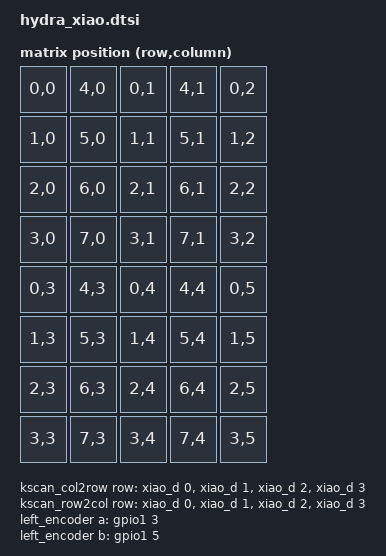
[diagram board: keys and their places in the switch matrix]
/* Shared DTSI for XIAO BLE Plus adapter variants.
 * Uses &xiao_d nexus and raw GPIO refs instead of &pro_micro.
 * Do NOT include hydra.dtsi alongside this file.
 */
#include <dt-bindings/zmk/matrix_transform.h>
#include <dt-bindings/zmk/behaviors.h>
#include "hydra-layouts.dtsi"

&physical_layout0 {
    transform = <&default_transform>;
};

/ {
    chosen {
        zmk,kscan = &kscan0;
        zmk,physical-layout = &physical_layout0;
    };

    default_transform: keymap_transform_0 {
        compatible = "zmk,matrix-transform";
        columns = <6>;
        rows = <8>;

        map = <
            // Left side
            RC(0,0) RC(4,0) RC(0,1) RC(4,1) RC(0,2)
            RC(1,0) RC(5,0) RC(1,1) RC(5,1) RC(1,2)
            RC(2,0) RC(6,0) RC(2,1) RC(6,1) RC(2,2)
            RC(3,0) RC(7,0) RC(3,1) RC(7,1) RC(3,2)
            // Right side
            RC(0,3) RC(4,3) RC(0,4) RC(4,4) RC(0,5)
            RC(1,3) RC(5,3) RC(1,4) RC(5,4) RC(1,5)
            RC(2,3) RC(6,3) RC(2,4) RC(6,4) RC(2,5)
            RC(3,3) RC(7,3) RC(3,4) RC(7,4) RC(3,5)
        >;
    };

    kscan_col2row: kscan_col2row {
        compatible = "zmk,kscan-gpio-matrix";
        wakeup-source;
        diode-direction = "col2row";
        // ROW1-4 → XIAO D0-D3 via adapter
        row-gpios
            = <&xiao_d 0 (GPIO_ACTIVE_HIGH | GPIO_PULL_DOWN)>  // D0/P0.02
            , <&xiao_d 1 (GPIO_ACTIVE_HIGH | GPIO_PULL_DOWN)>  // D1/P0.03
            , <&xiao_d 2 (GPIO_ACTIVE_HIGH | GPIO_PULL_DOWN)>  // D2/P0.28
            , <&xiao_d 3 (GPIO_ACTIVE_HIGH | GPIO_PULL_DOWN)>  // D3/P0.29
            ;
        // col-gpios added by each side overlay
    };

    kscan_row2col: kscan_row2col {
        compatible = "zmk,kscan-gpio-matrix";
        wakeup-source;
        diode-direction = "row2col";
        row-gpios
            = <&xiao_d 0 GPIO_ACTIVE_HIGH>  // D0/P0.02
            , <&xiao_d 1 GPIO_ACTIVE_HIGH>  // D1/P0.03
            , <&xiao_d 2 GPIO_ACTIVE_HIGH>  // D2/P0.28
            , <&xiao_d 3 GPIO_ACTIVE_HIGH>  // D3/P0.29
            ;
        // col-gpios added by each side overlay
    };

    kscan0: kscan_composite {
        compatible = "zmk,kscan-composite";
        wakeup-source;
        rows = <8>;
        columns = <3>;

        kscan_c2r {
            kscan = <&kscan_col2row>;
        };
        kscan_r2c {
            kscan = <&kscan_row2col>;
            row-offset = <4>;
        };
    };

    behaviors {
        htp: hold_tap_preferred {
            compatible = "zmk,behavior-hold-tap";
            #binding-cells = <2>;
            flavor = "tap-preferred";
            tapping-term-ms = <500>;
            bindings = <&kp>, <&kp>;
            display-name = "Tap preffered hold-tap";
        };
    };

    // Encoder on XIAO Plus D17/P1.03=A, D18/P1.05=B (not in standard xiao_d nexus)
    left_encoder: encoder_left {
        label = "LEFT_ENCODER";
        compatible = "alps,ec11";
        a-gpios = <&gpio1 3 (GPIO_ACTIVE_HIGH | GPIO_PULL_DOWN)>;  // D17/P1.03
        b-gpios = <&gpio1 5 (GPIO_ACTIVE_HIGH | GPIO_PULL_DOWN)>;  // D18/P1.05
        steps = <20>;
        status = "disabled";
    };

    sensors {
        compatible = "zmk,keymap-sensors";
        sensors = <&left_encoder>;
        triggers-per-rotation = <20>;
    };
};
